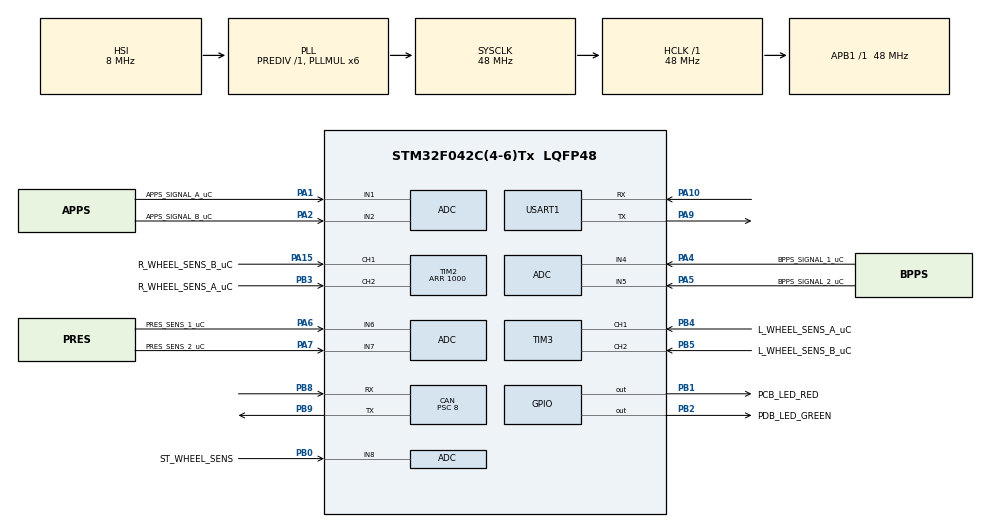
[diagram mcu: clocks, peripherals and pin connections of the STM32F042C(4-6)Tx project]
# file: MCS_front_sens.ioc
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ADC.ContinuousConvMode=ENABLE
ADC.DMAContinuousRequests=ENABLE
ADC.Overrun=ADC_OVR_DATA_OVERWRITTEN
ADC.SamplingTime=ADC_SAMPLETIME_28CYCLES_5
CAN.BS1=CAN_BS1_10TQ
CAN.CalculateBaudRate=500000
CAN.CalculateTimeBit=2000
CAN.CalculateTimeQuantum=166.66666666666666
CAN.Mode=CAN_MODE_NORMAL
CAN.Prescaler=8
Dma.ADC.0.Direction=DMA_PERIPH_TO_MEMORY
Dma.ADC.0.Instance=DMA1_Channel1
Dma.ADC.0.MemDataAlignment=DMA_MDATAALIGN_WORD
Dma.ADC.0.MemInc=DMA_MINC_ENABLE
Dma.ADC.0.Mode=DMA_CIRCULAR
Dma.ADC.0.PeriphDataAlignment=DMA_PDATAALIGN_WORD
Dma.ADC.0.PeriphInc=DMA_PINC_DISABLE
Dma.ADC.0.Priority=DMA_PRIORITY_LOW
Dma.Request0=ADC
Mcu.Family=STM32F0
Mcu.Name=STM32F042C(4-6)Tx
Mcu.Package=LQFP48
NVIC.CEC_CAN_IRQn=true\:3\:0\:true\:false\:true\:true\:true\:true
NVIC.TIM16_IRQn=true\:0\:0\:false\:false\:true\:true\:true\:true
NVIC.TIM2_IRQn=true\:0\:0\:false\:false\:true\:true\:true\:true
PA1.GPIO_Label=APPS_SIGNAL_A_uC
PA1.Mode=IN1
PA1.Signal=ADC_IN1
PA10.Mode=Asynchronous
PA10.Signal=USART1_RX
PA13.Mode=Serial_Wire
PA13.Signal=SYS_SWDIO
PA14.Mode=Serial_Wire
PA14.Signal=SYS_SWCLK
PA15.GPIO_Label=R_WHEEL_SENS_B_uC
PA15.Signal=S_TIM2_CH1_ETR
PA2.GPIO_Label=APPS_SIGNAL_B_uC
PA2.Mode=IN2
PA2.Signal=ADC_IN2
PA4.GPIO_Label=BPPS_SIGNAL_1_uC
PA4.Mode=IN4
PA4.Signal=ADC_IN4
PA5.GPIO_Label=BPPS_SIGNAL_2_uC
PA5.Mode=IN5
PA5.Signal=ADC_IN5
PA6.GPIO_Label=PRES_SENS_1_uC
PA6.Mode=IN6
PA6.Signal=ADC_IN6
PA7.GPIO_Label=PRES_SENS_2_uC
PA7.Mode=IN7
PA7.Signal=ADC_IN7
PA9.Mode=Asynchronous
PA9.Signal=USART1_TX
PB0.GPIO_Label=ST_WHEEL_SENS
PB0.Mode=IN8
PB0.Signal=ADC_IN8
PB1.GPIO_Label=PCB_LED_RED
PB1.Signal=GPIO_Output
PB2.GPIO_Label=PDB_LED_GREEN
PB2.Signal=GPIO_Output
PB3.GPIO_Label=R_WHEEL_SENS_A_uC
PB3.Signal=S_TIM2_CH2
PB4.GPIO_Label=L_WHEEL_SENS_A_uC
PB4.Signal=S_TIM3_CH1
PB5.GPIO_Label=L_WHEEL_SENS_B_uC
PB5.Signal=S_TIM3_CH2
PB8.Mode=CAN_Activate
PB8.Signal=CAN_RX
PB9.Mode=CAN_Activate
PB9.Signal=CAN_TX
PF0-OSC_IN.Mode=HSE-External-Oscillator
PF0-OSC_IN.Signal=RCC_OSC_IN
PF1-OSC_OUT.Mode=HSE-External-Oscillator
PF1-OSC_OUT.Signal=RCC_OSC_OUT
ProjectManager.HeapSize=0x200
ProjectManager.StackSize=0x400
ProjectManager.TargetToolchain=STM32CubeIDE
RCC.AHBFreq_Value=48000000
RCC.APB1Freq_Value=48000000
RCC.APB1TimFreq_Value=48000000
RCC.HCLKFreq_Value=48000000
RCC.HSE_VALUE=16000000
RCC.PLLMUL=RCC_PLL_MUL6
RCC.SYSCLKFreq_VALUE=48000000
RCC.SYSCLKSource=RCC_SYSCLKSOURCE_PLLCLK
SH.S_TIM2_CH1_ETR.0=TIM2_CH1,Encoder_Interface
SH.S_TIM2_CH2.0=TIM2_CH2,Encoder_Interface
SH.S_TIM3_CH1.0=TIM3_CH1,Encoder_Interface
SH.S_TIM3_CH2.0=TIM3_CH2,Encoder_Interface
TIM16.Period=100-1
TIM16.Prescaler=4800-1
TIM2.EncoderMode=TIM_ENCODERMODE_TI12
TIM2.Period=1000
TIM3.EncoderMode=TIM_ENCODERMODE_TI12
USART1.VirtualMode-Asynchronous=VM_ASYNC
VP_TIM16_VS_ClockSourceINT.Mode=Enable_Timer
board=custom

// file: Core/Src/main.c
/* USER CODE BEGIN Header */
/**
 ******************************************************************************
 * @file           : main.c
 * @brief          : Main program body
 ******************************************************************************
 * @attention
 *
 * Copyright (c) 2022 STMicroelectronics.
 * All rights reserved.
 *
 * This software is licensed under terms that can be found in the LICENSE file
 * in the root directory of this software component.
 * If no LICENSE file comes with this software, it is provided AS-IS.
 *
 ******************************************************************************
 */
/* USER CODE END Header */
#include "main.h"
#include "adc.h"
#include "can.h"
#include "dma.h"
#include "tim.h"
#include "usart.h"
#include "gpio.h"

/* USER CODE BEGIN Includes */
#include "can_config.h"
#include "errors.h"
#include "frontSensInit.h"

/* USER CODE END Includes */

/* USER CODE BEGIN PD */
static const uint8_t numberOfEncoderDiscTeeth = 1;
static const uint8_t WheelSpeedMeasureTime_ms = 100;
static const uint16_t maxWheelSpeed = 1000;
static const uint8_t maxImplausibilityTime_ms = 80;

/* USER CODE END PD */

/* USER CODE BEGIN PV */
// Calibration variables
bool Write_isInCalibrationState = false;
uint8_t calibrationStage = CALIBRATION_START;
uint8_t Read_CurrentCalibratedSensorValue[2];

// ADC buffer
uint32_t ADC_buffer[NUMBER_OF_USED_ADC_CHANNELS];

// BPPS variables
uint8_t Read_BPPSPosition[2] = {0,0};
Signal signalA_BPPS, signalB_BPPS;

// APPS variables
uint8_t Read_APPSPosition[2] = {0,0};
Signal signalA_APPS, signalB_APPS;

// ST_WHEEL variables
uint8_t Read_ST_WHEELAngle[2] = {0,0};
Signal signal_ST_WHEEL;

// R/L_WHHEL variables
uint32_t R_WHEELStartTime, L_WHEELStartTime;
uint8_t Read_R_WHEELSpeed[2] = {0,0};
uint8_t Read_L_WHEELSpeed[2] = {0,0};
bool R_WHEELReadDone, L_WHEELReadDone;

// Pressure sensors variables
uint8_t Read_PressureOneValue[2] = {0,0};
uint8_t Read_PressureTwoValue[2] = {0,0};
Signal signal_PressureOne, signal_PressureTwo;

// Error variable
bool anyErrorOccurred;

void beginCalibrationState(bool *isInCalibrationState);
void calibrate();

void updatePedalPositionSensor(Signal *signalA, Signal *signalB);
void updateST_WHEEL(Signal *signal);
void updateWHEELS();
void updatePressureValue(Signal *signal);

void fixValuesToSetRanges(Signal *signalA, Signal *signalB);
void calculatePosition(Signal *signalA, Signal *signalB);
uint16_t average(uint32_t signalA_value, uint32_t signalB_value);
void calculateAngle(Signal *signal);
void calculateSpeedAndCheckIfInRange(uint32_t starTime, uint8_t wheelSpeed[], void (*outOfRange)());
void calculatePressure(Signal *signal);

void HAL_TIM_IC_CaputreCallback(TIM_HandleTypeDef *htim);
/* USER CODE END PV */

void SystemClock_Config(void);

int main(void)
{

  /* MCU Configuration--------------------------------------------------------*/

  /* Reset of all peripherals, Initializes the Flash interface and the Systick. */
  HAL_Init();

  /* Configure the system clock */
  SystemClock_Config();

  /* Initialize all configured peripherals */
  MX_GPIO_Init();
  MX_DMA_Init();
  MX_ADC_Init();
  MX_CAN_Init();
  MX_TIM2_Init();
  MX_TIM3_Init();
  MX_USART1_UART_Init();
  MX_TIM16_Init();
  /* USER CODE BEGIN 2 */
  CAN_Init();
  HAL_CAN_Start(&hcan);
  /* USER CODE END 2 */

  /* Infinite loop */
  /* USER CODE BEGIN WHILE */
  frontSensInit();
  HAL_ADC_Start_DMA(&hadc, ADC_buffer, NUMBER_OF_USED_ADC_CHANNELS);

  // Start the timer for error handling
  #ifndef NO_ERRORS_CHECKS
  HAL_TIM_Base_Start_IT(&htim16);
  #endif

  #ifndef NO_CALIBRATION
  	  beginCalibrationState(&Write_isInCalibrationState);
  #endif

	while (1)
	{
    /* USER CODE END WHILE */

    /* USER CODE BEGIN 3 */
		#ifndef NO_APPS_AQ
		updatePedalPositionSensor(&signalA_APPS, &signalB_APPS);
		#endif
		#ifndef NO_BPPS_AQ
		updatePedalPositionSensor(&signalA_BPPS, &signalB_BPPS);
		#endif
		#ifndef NO_ST_WHEEL_AQ
		updateST_WHEEL(&signal_ST_WHEEL);
		#endif
		#ifndef NO_WHEEL_AQ
		updateWHEELS();
		#endif
		#ifndef NO_PRES_AQ
		updatePressureValue(&signal_PressureOne);
		updatePressureValue(&signal_PressureTwo);
		#endif
	}
  /* USER CODE END 3 */
}

void SystemClock_Config(void)
{
  RCC_OscInitTypeDef RCC_OscInitStruct = {0};
  RCC_ClkInitTypeDef RCC_ClkInitStruct = {0};
  RCC_PeriphCLKInitTypeDef PeriphClkInit = {0};

  /** Initializes the RCC Oscillators according to the specified parameters
  * in the RCC_OscInitTypeDef structure.
  */
  RCC_OscInitStruct.OscillatorType = RCC_OSCILLATORTYPE_HSI|RCC_OSCILLATORTYPE_HSI14;
  RCC_OscInitStruct.HSIState = RCC_HSI_ON;
  RCC_OscInitStruct.HSI14State = RCC_HSI14_ON;
  RCC_OscInitStruct.HSICalibrationValue = RCC_HSICALIBRATION_DEFAULT;
  RCC_OscInitStruct.HSI14CalibrationValue = 16;
  RCC_OscInitStruct.PLL.PLLState = RCC_PLL_ON;
  RCC_OscInitStruct.PLL.PLLSource = RCC_PLLSOURCE_HSI;
  RCC_OscInitStruct.PLL.PLLMUL = RCC_PLL_MUL6;
  RCC_OscInitStruct.PLL.PREDIV = RCC_PREDIV_DIV1;
  if (HAL_RCC_OscConfig(&RCC_OscInitStruct) != HAL_OK)
  {
    Error_Handler();
  }

  /** Initializes the CPU, AHB and APB buses clocks
  */
  RCC_ClkInitStruct.ClockType = RCC_CLOCKTYPE_HCLK|RCC_CLOCKTYPE_SYSCLK
                              |RCC_CLOCKTYPE_PCLK1;
  RCC_ClkInitStruct.SYSCLKSource = RCC_SYSCLKSOURCE_PLLCLK;
  RCC_ClkInitStruct.AHBCLKDivider = RCC_SYSCLK_DIV1;
  RCC_ClkInitStruct.APB1CLKDivider = RCC_HCLK_DIV1;

  if (HAL_RCC_ClockConfig(&RCC_ClkInitStruct, FLASH_LATENCY_1) != HAL_OK)
  {
    Error_Handler();
  }
  PeriphClkInit.PeriphClockSelection = RCC_PERIPHCLK_USART1;
  PeriphClkInit.Usart1ClockSelection = RCC_USART1CLKSOURCE_PCLK1;
  if (HAL_RCCEx_PeriphCLKConfig(&PeriphClkInit) != HAL_OK)
  {
    Error_Handler();
  }
}

/* USER CODE BEGIN 4 */

/** beginCalibrationState
 * @brief Function preventing main program to run before the calibration process is completed.
 *
 * @param bool *isInCalibrationState pointer to a boolean defining if the board is in calibration state
 *
 * @retval None
 **/
void beginCalibrationState(bool *isInCalibrationState)
{
	HAL_GPIO_WritePin(PCB_LED_RED_GPIO_Port, PCB_LED_RED_Pin, GPIO_PIN_SET);

	while (*isInCalibrationState)
	{
		// TEMPORARY: 27.07.2023
		updatePedalPositionSensor(&signalA_BPPS, &signalB_BPPS);
		updatePedalPositionSensor(&signalA_APPS, &signalB_APPS);
	}

	HAL_GPIO_WritePin(PCB_LED_RED_GPIO_Port, PCB_LED_RED_Pin, GPIO_PIN_RESET);
}

/** calibrate
 * @brief Function that handles the calibration process.
 *		  1. First function call is an entrance to the calibration screen.
 *		  2. Second function call is a start of calibration of the first value.
 *		  3. Third function call is the end of the first calibration stage and beginning of the second one.
 *		  The process for every other value that has to be calibrated looks the same as points 2 -> 3.
 *		  At the end, calibratioStage is set to CALIBRAIONT_START in case a driver would like to repeat the process.
 *
 * @retval None
 **/
void calibrate()
{
	switch (calibrationStage)
	{
	case CALIBRATION_START:
		Read_CurrentCalibratedSensorValue[MOST_SIGNIFICANT_BYTE] = 1;
		Read_CurrentCalibratedSensorValue[LESS_SIGNIFICANT_BYTE] = 1;
		break;
	case BRAKE_MIN_CALIBRATION_START:
		break;
	case BRAKE_MIN:
		updatePedalPositionSensor(&signalA_BPPS, &signalB_BPPS);
		break;
	case BRAKE_MAX_CALIBRATION_START:
		break;
	case BRAKE_MAX:
		updatePedalPositionSensor(&signalA_BPPS, &signalB_BPPS);
		break;
	case ACCELERATOR_MIN_CALIBRATION_START:
		break;
	case ACCELERATOR_MIN:
		updatePedalPositionSensor(&signalA_APPS, &signalB_APPS);
		break;
	case ACCELERATOR_MAX_CALIBRATION_START:
		break;
	case ACCELERATOR_MAX:
		updatePedalPositionSensor(&signalA_APPS, &signalB_APPS);
		calibrationStage = CALIBRATION_START;
		break;
	default:
		Error_Handler();
		break;
	}

	calibrationStage++;
}

/** updatePedalPositionSensor
 * @brief Function reads values of the pedal position sensor from ADC, checks them for errors and calculates pedal's current position.
 *
 * @param Signal *signalA pointer to the Signal structure
 * @param Signal *signalB pointer to the Signal structure
 *
 * @retval None
 **/
void updatePedalPositionSensor(Signal *signalA, Signal *signalB)
{
	HAL_GPIO_WritePin(PDB_LED_GREEN_GPIO_Port, PDB_LED_GREEN_Pin, GPIO_PIN_SET);

	/*
	 * Signal value pointed to by the 'raw_value_ptr' might be in a constant change due to the ADC DMA operating on it,
	 * so current (in terms of time when it was saved to the corresponding 'value' element of the 'Signal' structure)
	 * values are used to further calculations.
	 */
	signalA->value = *(signalA->raw_value_ptr);
	signalB->value = *(signalB->raw_value_ptr);

	if (calibrationStage == signalA->minStage)
	{
		signalA->min = signalA->value;
		signalB->min = signalB->value;
	}
	else if (calibrationStage == signalA->maxStage)
	{
		signalA->max = signalA->value;
		signalB->max = signalB->value;
		signalA->range = signalA->max - signalA->min;
		signalB->range = signalB->max - signalB->min;
	}

    #ifdef NO_CALIBRATION
	signalA->range = signalA->max - signalA->min;
	signalB->range = signalB->max - signalB->min;
	#endif

	if (!Write_isInCalibrationState || (signalA->maxStage < calibrationStage))
	{
		fixValuesToSetRanges(signalA, signalB);
	}

	calculatePosition(signalA, signalB);

	HAL_GPIO_WritePin(PDB_LED_GREEN_GPIO_Port, PDB_LED_GREEN_Pin, GPIO_PIN_RESET);
}

/** updateST_WHEEL
 * @brief Function reads value of the steering wheel position sensor from ADC, checks it for errors and calculates steering wheel's current angle.
 *
 * @retval None
 **/
void updateST_WHEEL(Signal *signal)
{
	HAL_GPIO_WritePin(PDB_LED_GREEN_GPIO_Port, PDB_LED_GREEN_Pin, GPIO_PIN_SET);

	signal->value = *(signal->raw_value_ptr);

	calculateAngle(signal);

	HAL_GPIO_WritePin(PDB_LED_GREEN_GPIO_Port, PDB_LED_GREEN_Pin, GPIO_PIN_RESET);
}

/** updatePressureValue
 * @brief Function reads value of the pressure sensor from ADC, checks it for errors and calculates pressure in [bars].
 *
 * @retval None
 **/
void updatePressureValue(Signal *signal)
{
	HAL_GPIO_WritePin(PDB_LED_GREEN_GPIO_Port, PDB_LED_GREEN_Pin, GPIO_PIN_SET);

	signal->value = *(signal->raw_value_ptr);

	calculatePressure(signal);

	HAL_GPIO_WritePin(PDB_LED_GREEN_GPIO_Port, PDB_LED_GREEN_Pin, GPIO_PIN_RESET);
}

/** updateWHEELS
 * @brief Function updates values of current speeds of both front wheels.
 *
 * @retval None
 **/
void updateWHEELS()
{
	HAL_GPIO_WritePin(PDB_LED_GREEN_GPIO_Port, PDB_LED_GREEN_Pin, GPIO_PIN_SET);

	Read_R_WHEELSpeed[MOST_SIGNIFICANT_BYTE] = 0;
	Read_R_WHEELSpeed[LESS_SIGNIFICANT_BYTE] = 0;
	Read_L_WHEELSpeed[MOST_SIGNIFICANT_BYTE] = 0;
	Read_L_WHEELSpeed[LESS_SIGNIFICANT_BYTE] = 0;

	R_WHEELReadDone = false;
	L_WHEELReadDone = false;
	uint32_t timer = HAL_GetTick();
	// L_WHEEL TIM3
	HAL_TIM_Encoder_Start_IT(&htim3, TIM_CHANNEL_ALL);
	L_WHEELStartTime = HAL_GetTick();
	// R_WHEEL TIM2
	HAL_TIM_Encoder_Start_IT(&htim2, TIM_CHANNEL_ALL);
	R_WHEELStartTime = HAL_GetTick();

	// In case the measure time is higher than a time needed to achieve speed of 1 [RPM], stop the process and assume speed is zero.
	while (!R_WHEELReadDone || !L_WHEELReadDone)
	{
		if ((HAL_GetTick() - timer) > WheelSpeedMeasureTime_ms)
		{
			HAL_TIM_Encoder_Stop_IT(&htim3, TIM_CHANNEL_ALL);
			HAL_TIM_Encoder_Stop_IT(&htim2, TIM_CHANNEL_ALL);

			R_WHEELReadDone = true;
			L_WHEELReadDone = true;
		}
	}

	// TODO error checks

	HAL_GPIO_WritePin(PDB_LED_GREEN_GPIO_Port, PDB_LED_GREEN_Pin, GPIO_PIN_RESET);
}

/** HAL_TIM_IC_CaputreCallback
 * @brief Function handling interrupts from two timers. It is used to calculate the speed of front wheels.
 *
 * @retval None
 **/
void HAL_TIM_IC_CaputreCallback(TIM_HandleTypeDef *htim)
{
	if (htim == &htim3)
	{
		// L_WHEEL
		HAL_TIM_Encoder_Stop_IT(&htim3, TIM_CHANNEL_ALL);
		calculateSpeedAndCheckIfInRange(L_WHEELStartTime, Read_L_WHEELSpeed, LeftWheelSensorOutOfRangeError_Handler);

		L_WHEELReadDone = true;
	}
	else if (htim == &htim2)
	{
		// R_WHEEL
		HAL_TIM_Encoder_Stop_IT(&htim2, TIM_CHANNEL_ALL);
		calculateSpeedAndCheckIfInRange(R_WHEELStartTime, Read_R_WHEELSpeed, RightWheelSensorOutOfRangeError_Handler);

		R_WHEELReadDone = true;
	}
}

/** HAL_TIM_PeriodElapsedCallback
 * @brief Function handling interrupt call for error checks.
 *
 * @retval None
 **/
void HAL_TIM_PeriodElapsedCallback(TIM_HandleTypeDef *htim)
{
  if (htim == &htim16 )
  {
    uint32_t now;

	errorCode error;

	// Check APPS for errors
	#ifndef NO_APP_ERRORS
	now = HAL_GetTick();
	error = checkPositionSensorForErrors(&signalA_APPS, &signalB_APPS);
	if(error == NO_ERRORS)
	{
		signalA_APPS.errorsWatchDog = now;
	}else if((now - signalA_APPS.errorsWatchDog) >= maxImplausibilityTime_ms)
	{
		signalA_APPS.errorHandler[error]();
	}
	#endif

	// Check BPPS for errors
	#ifndef NO_BPPS_ERRORS
	now = HAL_GetTick();
	error = checkPositionSensorForErrors(&signalA_BPPS, &signalB_BPPS);
	if(error == NO_ERRORS)
	{
		signalA_BPPS.errorsWatchDog = now;
	}else if((now - signalA_BPPS.errorsWatchDog) >= maxImplausibilityTime_ms)
	{
		signalA_BPPS.errorHandler[error]();
	}
	#endif

	// Check ST_WHEEL for errors
	#ifndef NO_ST_WHEEL_ERRORS
	now = HAL_GetTick();
	error = checkST_WHEELforErrors(*(signal_ST_WHEEL.raw_value_ptr));
	if(error == NO_ERRORS)
	{
		signal_ST_WHEEL.errorsWatchDog = now;
	}else if((now - signal_ST_WHEEL.errorsWatchDog) >= maxImplausibilityTime_ms)
	{
		signal_ST_WHEEL.errorHandler[error]();
	}
	#endif

	// Check pressure sensors for errors
	#ifndef NO_PRESSURE_ERRORS
	now = HAL_GetTick();
	error = checkPressureSenorForErrors(&signal_PressureOne);
	if(error == NO_ERRORS)
	{
		signal_PressureOne.errorsWatchDog = now;
	}else if((now - signal_PressureOne.errorsWatchDog) >= maxImplausibilityTime_ms)
	{
		signal_PressureOne.errorHandler[error]();
	}

	now = HAL_GetTick();
	error = checkPressureSenorForErrors(&signal_PressureTwo);
	if(error == NO_ERRORS)
	{
		signal_PressureTwo.errorsWatchDog = now;
	}else if((now - signal_PressureTwo.errorsWatchDog) >= maxImplausibilityTime_ms)
	{
		signal_PressureTwo.errorHandler[error]();
	}
	#endif
  }
}

/** calculatePosition
 * @brief Function calculates position of a pedal position sensor.
 *
 * @param Signal *signalA pointer to the Signal structure
 * @param Signal *signalB pointer to the Signal structure
 *
 * @retval None
 **/
void calculatePosition(Signal *signalA, Signal *signalB)
{
	// Calculate position or if in calibration state, update the value
	if (!Write_isInCalibrationState || (signalA->maxStage < calibrationStage))
	{
		uint32_t signalA_fixed = signalA->value - signalA->min;
		uint32_t signalB_fixed = signalB->value - signalB->min;

		uint16_t value = average(signalA_fixed, signalB_fixed);
		uint16_t range = average(signalA->range, signalB->range);
		uint16_t position = ((float)value / (float)range) * 1000; // [%%] - per mille

		/*
		 * If position is lower than 50%% -> 5%, set it to 0.
		 */
		position = position < 50 ? 0 : position;

		signalA->position[MOST_SIGNIFICANT_BYTE] = (position >> SHIFT_BYTE);
		signalA->position[LESS_SIGNIFICANT_BYTE] = position;
	}
	else
	{
		uint16_t avg_value = average(signalA->value, signalB->value);
		Read_CurrentCalibratedSensorValue[MOST_SIGNIFICANT_BYTE] = (avg_value >> SHIFT_BYTE);
		Read_CurrentCalibratedSensorValue[LESS_SIGNIFICANT_BYTE] = avg_value;
	}
}

/** calculatePressure
 * @brief Function calculates pressure based on the ADC reading and pre-calculated formula.
 *
 * @param Signal *signal pointer to the Signal structure
 *
 * @retval None
 **/
void calculatePressure(Signal *signal)
{
	/*
	 * According to data sheet pressure sensor has a linear characteristic.
	 *
	 * 373 is a value corresponding to 0.5V output of the pressure sensors, which means - according to the data sheet - 0 [bar] pressure.
	 * 3351 is a value corresponding to 4.5V output of the pressure sensors, which means - according to the data sheet - 250 [bar] pressure.
	 *
	 * For y = 0 [bar], x = 373 [ADC measure reading], so
	 * 0 = 373 * a + b
	 * For y = 260 [bar], x = 3351 [ADC measure reading], so
	 * 260 = 3351 * a + b
	 * So
	 * a = 0.0873069
	 * and
	 * b = 32.5654737
	 */

	static const float coefficientA = 0.0873069;
	static const float coefficientB = 32.5654737;

	uint16_t pressure = (uint16_t)(signal->value * coefficientA - coefficientB);

	signal->position[MOST_SIGNIFICANT_BYTE] = (pressure >> SHIFT_BYTE);
	signal->position[LESS_SIGNIFICANT_BYTE] = pressure;
}

/** average
 * @brief Function calculates average value of two given parameters.
 *
 * @param uint32_t signalA_value first value
 * @param uint32_t signalB_value second value
 *
 * @retval uint16_t average value of two given parameters.
 **/
uint16_t average(uint32_t first_value, uint32_t second_value)
{
	return (uint16_t)((first_value + second_value) / 2);
}

/** calculateAngle
 * @brief Function calculates angle of a steering wheel sensor.
 *
 * @param Signal signal
 *
 * @retval None
 **/
void calculateAngle(Signal *signal)
{
	/*
	 * According to data sheet steering wheel sensor has a linear characteristic.
	 * So the following formula is a linear function y = a * x + b. Where 'x' is an angle in degrees and 'y' is a voltage.
	 * For x = 0 [deg], y = ST_WHEEL_MIN
	 * so: b = ST_WHEEL_MIN
	 * For x = 360 [deg], y = ST_WHEEL_MAX
	 * so: a = (ST_WHEEL_MAX - ST_WHEEL_MIN) / 360
	 * Finally: y = (ST_WHEEL_MAX - ST_WHEEL_MIN) / 360 * x + ST_WHEEL_MIN
	 * So: x = 360 * (y - ST_WHEEL_MIN) / (ST_WHEEL_MAX - ST_WHEEL_MIN)
	 */
	uint16_t angle = (float)(360 * (signal->value - signal->min)) / (float)(signal->max - signal->min);
	Read_ST_WHEELAngle[MOST_SIGNIFICANT_BYTE] = (angle >> SHIFT_BYTE);
	Read_ST_WHEELAngle[LESS_SIGNIFICANT_BYTE] = angle;
}

/** calculateSpeedAndCheckIfInRange
 * @brief Function calculates speed of a wheel.
 *
 * @param uint32_t starTime time when speed acquisition has stared.
 * 		  uint8_t wheelSpeed[] pointer to an array that holds current speed of a wheel and is used as an CAN response.
 *		  void (*outOfRange)() pointer to a function that throws an error of speed being out of physical range
 *
 * @retval None
 **/
void calculateSpeedAndCheckIfInRange(uint32_t starTime, uint8_t wheelSpeed[], void (*outOfRange)())
{
	uint32_t now = HAL_GetTick();

	/*
	 * 'time' variable holds the time( in seconds) between acquisition start and the moment when encoder spotted a teeth.
	 * '1.0 / time' is a frequency and it is multiplied by 60( seconds) and divided by the number of
	 * teeth on the encoder disc to get the rotations per minute.
	 */
	double time = ((double)now - starTime) / 1000;
	uint16_t speed = 1.0 / time * 60.0 / numberOfEncoderDiscTeeth;

	if (speed > maxWheelSpeed)
	{
		outOfRange();
	}

	wheelSpeed[MOST_SIGNIFICANT_BYTE] = (speed >> SHIFT_BYTE);
	wheelSpeed[LESS_SIGNIFICANT_BYTE] = speed;
}

/** fixValuesToSetRanges
 * @brief Function fixes signals values to their ranges.
 *
 * @param Signal *signalA pointer to the Signal structure
 * 		  Signal *signalB pointer to the Signal structure
 *
 * @retval None
 **/
void fixValuesToSetRanges(Signal *signalA, Signal *signalB)
{
	signalA->value = signalA->value> signalA->max ? signalA->max : signalA->value;
	signalA->value = signalA->value < signalA->min ? signalA->min : signalA->value;
	signalB->value = signalB->value > signalB->max ? signalB->max : signalB->value;
	signalB->value = signalB->value < signalB->min ? signalB->min : signalB->value;
}
/* USER CODE END 4 */

void Error_Handler(void)
{
	__disable_irq();
	while (1)
	{
	}
}
